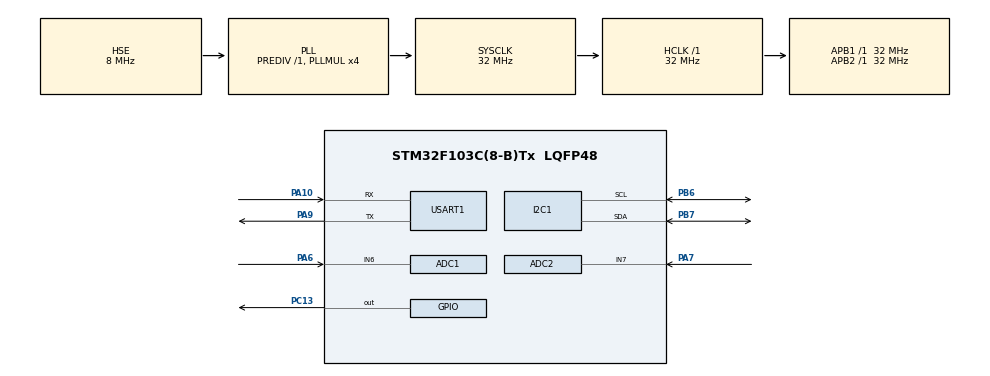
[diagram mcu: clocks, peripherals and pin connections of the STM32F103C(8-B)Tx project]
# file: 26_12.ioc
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ADC1.Channel-0\#ChannelRegularConversion=ADC_CHANNEL_6
ADC1.NbrOfConversionFlag=1
ADC1.Rank-0\#ChannelRegularConversion=1
ADC1.SamplingTime-0\#ChannelRegularConversion=ADC_SAMPLETIME_1CYCLE_5
ADC1.master=1
ADC2.Channel-1\#ChannelRegularConversion=ADC_CHANNEL_7
ADC2.NbrOfConversionFlag=1
ADC2.Rank-1\#ChannelRegularConversion=1
ADC2.SamplingTime-1\#ChannelRegularConversion=ADC_SAMPLETIME_1CYCLE_5
Mcu.Family=STM32F1
Mcu.Name=STM32F103C(8-B)Tx
Mcu.Package=LQFP48
NVIC.PriorityGroup=NVIC_PRIORITYGROUP_4
PA10.Mode=Asynchronous
PA10.Signal=USART1_RX
PA6.Signal=ADCx_IN6
PA7.Signal=ADCx_IN7
PA9.Mode=Asynchronous
PA9.Signal=USART1_TX
PB6.Mode=I2C
PB6.Signal=I2C1_SCL
PB7.Mode=I2C
PB7.Signal=I2C1_SDA
PC13-TAMPER-RTC.Signal=GPIO_Output
PD0-OSC_IN.Mode=HSE-External-Oscillator
PD0-OSC_IN.Signal=RCC_OSC_IN
PD1-OSC_OUT.Mode=HSE-External-Oscillator
PD1-OSC_OUT.Signal=RCC_OSC_OUT
ProjectManager.HeapSize=0x200
ProjectManager.StackSize=0x400
ProjectManager.TargetToolchain=STM32CubeIDE
RCC.ADCPresc=RCC_ADCPCLK2_DIV4
RCC.AHBFreq_Value=32000000
RCC.APB1Freq_Value=32000000
RCC.APB1TimFreq_Value=32000000
RCC.APB2Freq_Value=32000000
RCC.APB2TimFreq_Value=32000000
RCC.HCLKFreq_Value=32000000
RCC.PLLMUL=RCC_PLL_MUL4
RCC.PLLSourceVirtual=RCC_PLLSOURCE_HSE
RCC.SYSCLKFreq_VALUE=32000000
RCC.SYSCLKSource=RCC_SYSCLKSOURCE_PLLCLK
RCC.USBFreq_Value=32000000
SH.ADCx_IN6.0=ADC1_IN6,IN6
SH.ADCx_IN7.0=ADC2_IN7,IN7
USART1.VirtualMode=VM_ASYNC
board=custom

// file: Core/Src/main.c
/* USER CODE BEGIN Header */
/**
  ******************************************************************************
  * @file           : main.c
  * @brief          : Main program body
  ******************************************************************************
  * @attention
  *
  * Copyright (c) 2023 STMicroelectronics.
  * All rights reserved.
  *
  * This software is licensed under terms that can be found in the LICENSE file
  * in the root directory of this software component.
  * If no LICENSE file comes with this software, it is provided AS-IS.
  *
  ******************************************************************************
  */
/* USER CODE END Header */
#include "main.h"
#include "i2c-lcd.h"

ADC_HandleTypeDef hadc1;
ADC_HandleTypeDef hadc2;

I2C_HandleTypeDef hi2c1;

UART_HandleTypeDef huart1;

void SystemClock_Config(void);
static void MX_GPIO_Init(void);
static void MX_ADC1_Init(void);
static void MX_USART1_UART_Init(void);
static void MX_ADC2_Init(void);
static void MX_I2C1_Init(void);

/* USER CODE BEGIN 0 */
#define CYCLE_MAX 50
#include <string.h>
#include <stdio.h>
#include <stdlib.h>
#include <stdbool.h>
uint32_t count,cycles,count_cycles[100],arr[100];
uint8_t data[4];
uint8_t arr_low[50];
uint8_t arr_high[50];
uint8_t arr_endline[50] = "\n\n";
uint32_t count_cycles_state(bool n) {
    count =0;
    while(HAL_GPIO_ReadPin(GPIOA, GPIO_PIN_5) == n) {
        count++;
	if(count > 50) {
		return count;
	}
    }
    return count;
}
int Read_DHT11(uint32_t* arr,uint8_t* data) {

  GPIO_InitTypeDef GPIO_InitStruct = {0};

  GPIO_InitStruct.Pull = GPIO_PULLUP;
  GPIO_InitStruct.Mode = GPIO_MODE_INPUT ;
  GPIO_InitStruct.Pin = GPIO_PIN_5;
  GPIO_InitStruct.Speed = GPIO_SPEED_FREQ_LOW;
  HAL_GPIO_Init(GPIOA, &GPIO_InitStruct);

  HAL_Delay(1);

  GPIO_InitStruct.Pull = GPIO_NOPULL;
  GPIO_InitStruct.Mode = GPIO_MODE_OUTPUT_PP  ;
  GPIO_InitStruct.Pin = GPIO_PIN_5;
  GPIO_InitStruct.Speed = GPIO_SPEED_FREQ_LOW;
  HAL_GPIO_Init(GPIOA, &GPIO_InitStruct);

  HAL_GPIO_WritePin(GPIOA, GPIO_PIN_5, 0);

  HAL_Delay(20);

  GPIO_InitStruct.Pull = GPIO_PULLUP;
  GPIO_InitStruct.Mode = GPIO_MODE_INPUT ;
  GPIO_InitStruct.Pin = GPIO_PIN_5;
  GPIO_InitStruct.Speed = GPIO_SPEED_FREQ_LOW;
  HAL_GPIO_Init(GPIOA, &GPIO_InitStruct);
  __disable_irq();
  for(int i=0;i< 160;i++) {
	  __NOP();
  }
  while(HAL_GPIO_ReadPin(GPIOA, GPIO_PIN_5) == 0);
  while(HAL_GPIO_ReadPin(GPIOA, GPIO_PIN_5) == 1);

  for(int i=0; i< 100 ; i+=2) {
	  count_cycles[i] = count_cycles_state(0);
	  count_cycles[i+1] = count_cycles_state(1);
	  arr[i] = count_cycles[i];
	  arr[i+1] = count_cycles[i+1];
  }
  __enable_irq();
  data[1] = 0x00;
  data[2] = 0x00;
  data[3] = 0x00;
  data[4] = 0x00;
  for (int i = 0; i < 40; ++i) {
	  uint32_t lowCycles = arr[2 * i];
	  uint32_t highCycles = arr[2 * i + 1];
	  if ((lowCycles >= CYCLE_MAX) || (highCycles >= CYCLE_MAX)) {
		  HAL_GPIO_TogglePin(GPIOC, GPIO_PIN_13);
	  }
	  data[i / 8] <<= 1;
	  if (highCycles > lowCycles) {
		  data[i / 8] |= 1;
	  }

  }
  uint8_t check_sum = ( data[0]+ data[1]+ data[2]+ data[3] ) & 0xFF;
  if(check_sum == data[4]) {

  }else {
	  unsigned char err[] = "data loi\r\n";
	  HAL_UART_Transmit(&huart1, err, strlen((char *)err), 10);
	  data[1] = 0x00;
	  data[2] = 0x00;
	  data[3] = 0x00;
	  data[4] = 0x00;
	  return -1;
  }

}

/* USER CODE END 0 */

int main(void)
{
  /* USER CODE BEGIN 1 */
	uint8_t buffer[20]= "gia tri ADC la:";
	uint16_t var_adc =0,var_adc_2=0;
	char buffer_adc[50],buffer_adc_2[50];
  /* USER CODE END 1 */

  /* MCU Configuration--------------------------------------------------------*/

  /* Reset of all peripherals, Initializes the Flash interface and the Systick. */
  HAL_Init();

  /* Configure the system clock */
  SystemClock_Config();

  /* Initialize all configured peripherals */
  MX_GPIO_Init();
  MX_ADC1_Init();
  MX_USART1_UART_Init();
  MX_ADC2_Init();
  MX_I2C1_Init();
  /* USER CODE BEGIN 2 */
  HAL_ADC_Start(&hadc1);
  HAL_Delay(50);
  HAL_ADC_Start(&hadc2);
  HAL_Delay(50);
  lcd_init();
  lcd_clear();
  /* USER CODE END 2 */

  /* Infinite loop */
  /* USER CODE BEGIN WHILE */
  while (1)
  {
	  HAL_Delay(1000);
    /* USER CODE END WHILE */

    /* USER CODE BEGIN 3 */
	  	  HAL_Delay(10000);
	  	  HAL_UART_Transmit(&huart1, buffer,strlen((char*)buffer),10);
	  	  HAL_Delay(5000);
	  	  Read_DHT11(arr,data); // đ ?c dht11
	  	  int a =data[2];
	  	  int b =data[3];
	  	  int c =data[0];
	  	  int d =data[1];
	  	  char tx_humi[100];
	  	  char string_lcd_line1[50],string_lcd_line2[50];
	  	  char tx[100];
	  	  char space[]  = " ";
	  	  char end[] = "\r\n\r\n\r\n\r\n\r\n";
	  	  char total[300];

	  	  sprintf(tx_humi, "%d.%d", a, b);
	  	  sprintf(tx, "%d.%d", c, d);
	  	  var_adc = HAL_ADC_GetValue(&hadc1);   // đ ?c adc quang trở
	  	  var_adc_2 = HAL_ADC_GetValue(&hadc2);
	  	  sprintf(buffer_adc, "%d", var_adc);
	  	  sprintf(buffer_adc_2, "%d", var_adc_2);
	  	for(int i=0;i<300;i++) {
	  		  			  total[i] =0;
	  		  		  }
	  	  strcat(total,tx_humi);
	  	  strcat(total,space);
	  	  strcat(total,tx);
	  	  strcat(total,space);
	  	  strcat(total,buffer_adc);
	  	  strcat(total,space);
	  	  strcat(total,buffer_adc_2);
	  	  strcat(total,end);
	  //	  HAL_UART_Transmit(&huart1, total, strlen(total), 10);

	  	  HAL_Delay(3000);

	  	  unsigned char data_tat[] = "AT+CGEREP=0\r\n";
	  	  HAL_UART_Transmit(&huart1, data_tat, strlen((char *)data_tat), 10);
	  	  HAL_Delay(1000);

	  	  unsigned char data1[] = "AT+CMQTTSTART\r\n";
	  	  HAL_UART_Transmit(&huart1, data1, strlen((char *)data1), 10);
	  	  HAL_Delay(1000);

	  	  unsigned char data2[] = "AT+CMQTTACCQ=0,\"clientID\"\r\n";
	  	  HAL_UART_Transmit(&huart1, data2, strlen((char *)data2), 10);
	  	  HAL_Delay(1000);

	  	  while(1) {
	  		  Read_DHT11(arr,data);
	  		  a =data[2];
	  		  b =data[3];
	  		  c =data[0];
	  		  d =data[1];
	  		  unsigned char err1[] = "data loi 1\r\n";
	  		  HAL_UART_Transmit(&huart1, err1, strlen((char *)err1), 10);
	  		  HAL_GPIO_TogglePin(GPIOC, GPIO_PIN_13);
	  		  lcd_clear();
	  		  sprintf(string_lcd_line1, "nhietdo: %d.%doC", a,b);
			  sprintf(string_lcd_line2, "doam: %d.%d", c,d);
			  strcat(string_lcd_line2,"%");
			  lcd_put_cur(0,0);
			  lcd_send_string(string_lcd_line1);
			  lcd_put_cur(1,0);
			  lcd_send_string(string_lcd_line2);
	  		  sprintf(tx_humi, "%d.%d", a, b);
	  		  sprintf(tx, "%d.%d", c, d);
	  		  HAL_ADC_Start(&hadc1);
	  		  HAL_Delay(50);
	  		  var_adc = HAL_ADC_GetValue(&hadc1);   // đ ?c adc quang trở
	  		  HAL_ADC_Start(&hadc2);
	  		  HAL_Delay(50);
	  		  var_adc_2 = HAL_ADC_GetValue(&hadc2);
			  sprintf(buffer_adc, "%d", var_adc);
			  unsigned char err2[] = "data loi2\r\n";
			  HAL_UART_Transmit(&huart1, err2, strlen((char *)err2), 10);
			  sprintf(buffer_adc_2, "%d", var_adc_2);
	  		  for(int i=0;i<300;i++) {
	  			  total[i] =0;
	  		  }
	  		  strcat(total,tx_humi);
	  		  strcat(total,space);
	  		  strcat(total,tx);
	  		  strcat(total,space);
	  		  strcat(total,buffer_adc);
		  	  strcat(total,space);
		  	  strcat(total,buffer_adc_2);
	  		  strcat(total,end);
	  		  unsigned char data3[] = "AT+CMQTTCONNECT=0,\"tcp://test.mosquitto.org:1883\",60,0\r\n";
	  		  HAL_UART_Transmit(&huart1, data3, strlen((char *)data3), 10);
	  		  HAL_Delay(1000);

	  		  unsigned char data4[] = "AT+CMQTTTOPIC=0,5\r\n";
	  		  HAL_UART_Transmit(&huart1, data4, strlen((char *)data4), 10);
	  		  HAL_Delay(10);

	  		  unsigned char data5[] = "vonam\r\n";
	  		  HAL_UART_Transmit(&huart1, data5, strlen((char *)data5), 10);
	  		  HAL_Delay(1000);

	  		  unsigned char data6[] = "AT+CMQTTPAYLOAD=0,19\r\n";
	  		  HAL_UART_Transmit(&huart1, data6, strlen((char *)data6), 10);
	  		  HAL_Delay(10);

	  		  HAL_GPIO_TogglePin(GPIOC, GPIO_PIN_13);
	  		  HAL_UART_Transmit(&huart1, (unsigned char *)total, strlen((char *)total), 500);
	  		  HAL_Delay(1000);

	  		  unsigned char data8[] = "AT+CMQTTPUB=0,1,60,0,0\r\n";
	  		  HAL_UART_Transmit(&huart1, data8, strlen((char *)data8), 10);
	  		  HAL_Delay(1000);

	  		  unsigned char data9[] = "AT+CMQTTDISC=0,200\r\n";
	  		  HAL_UART_Transmit(&huart1, data9, strlen((char *)data9), 10);
	  		  HAL_Delay(1000);

	  	  }
	  	  HAL_Delay(1000);

	    }
  }
  /* USER CODE END 3 */

void SystemClock_Config(void)
{
  RCC_OscInitTypeDef RCC_OscInitStruct = {0};
  RCC_ClkInitTypeDef RCC_ClkInitStruct = {0};
  RCC_PeriphCLKInitTypeDef PeriphClkInit = {0};

  /** Initializes the RCC Oscillators according to the specified parameters
  * in the RCC_OscInitTypeDef structure.
  */
  RCC_OscInitStruct.OscillatorType = RCC_OSCILLATORTYPE_HSE;
  RCC_OscInitStruct.HSEState = RCC_HSE_ON;
  RCC_OscInitStruct.HSEPredivValue = RCC_HSE_PREDIV_DIV1;
  RCC_OscInitStruct.HSIState = RCC_HSI_ON;
  RCC_OscInitStruct.PLL.PLLState = RCC_PLL_ON;
  RCC_OscInitStruct.PLL.PLLSource = RCC_PLLSOURCE_HSE;
  RCC_OscInitStruct.PLL.PLLMUL = RCC_PLL_MUL4;
  if (HAL_RCC_OscConfig(&RCC_OscInitStruct) != HAL_OK)
  {
    Error_Handler();
  }

  /** Initializes the CPU, AHB and APB buses clocks
  */
  RCC_ClkInitStruct.ClockType = RCC_CLOCKTYPE_HCLK|RCC_CLOCKTYPE_SYSCLK
                              |RCC_CLOCKTYPE_PCLK1|RCC_CLOCKTYPE_PCLK2;
  RCC_ClkInitStruct.SYSCLKSource = RCC_SYSCLKSOURCE_PLLCLK;
  RCC_ClkInitStruct.AHBCLKDivider = RCC_SYSCLK_DIV1;
  RCC_ClkInitStruct.APB1CLKDivider = RCC_HCLK_DIV1;
  RCC_ClkInitStruct.APB2CLKDivider = RCC_HCLK_DIV1;

  if (HAL_RCC_ClockConfig(&RCC_ClkInitStruct, FLASH_LATENCY_1) != HAL_OK)
  {
    Error_Handler();
  }
  PeriphClkInit.PeriphClockSelection = RCC_PERIPHCLK_ADC;
  PeriphClkInit.AdcClockSelection = RCC_ADCPCLK2_DIV4;
  if (HAL_RCCEx_PeriphCLKConfig(&PeriphClkInit) != HAL_OK)
  {
    Error_Handler();
  }
}

static void MX_ADC1_Init(void)
{

  ADC_ChannelConfTypeDef sConfig = {0};

  /** Common config
  */
  hadc1.Instance = ADC1;
  hadc1.Init.ScanConvMode = ADC_SCAN_DISABLE;
  hadc1.Init.ContinuousConvMode = DISABLE;
  hadc1.Init.DiscontinuousConvMode = DISABLE;
  hadc1.Init.ExternalTrigConv = ADC_SOFTWARE_START;
  hadc1.Init.DataAlign = ADC_DATAALIGN_RIGHT;
  hadc1.Init.NbrOfConversion = 1;
  if (HAL_ADC_Init(&hadc1) != HAL_OK)
  {
    Error_Handler();
  }

  /** Configure Regular Channel
  */
  sConfig.Channel = ADC_CHANNEL_6;
  sConfig.Rank = ADC_REGULAR_RANK_1;
  sConfig.SamplingTime = ADC_SAMPLETIME_1CYCLE_5;
  if (HAL_ADC_ConfigChannel(&hadc1, &sConfig) != HAL_OK)
  {
    Error_Handler();
  }

}

static void MX_ADC2_Init(void)
{

  ADC_ChannelConfTypeDef sConfig = {0};

  /** Common config
  */
  hadc2.Instance = ADC2;
  hadc2.Init.ScanConvMode = ADC_SCAN_DISABLE;
  hadc2.Init.ContinuousConvMode = DISABLE;
  hadc2.Init.DiscontinuousConvMode = DISABLE;
  hadc2.Init.ExternalTrigConv = ADC_SOFTWARE_START;
  hadc2.Init.DataAlign = ADC_DATAALIGN_RIGHT;
  hadc2.Init.NbrOfConversion = 1;
  if (HAL_ADC_Init(&hadc2) != HAL_OK)
  {
    Error_Handler();
  }

  /** Configure Regular Channel
  */
  sConfig.Channel = ADC_CHANNEL_7;
  sConfig.Rank = ADC_REGULAR_RANK_1;
  sConfig.SamplingTime = ADC_SAMPLETIME_1CYCLE_5;
  if (HAL_ADC_ConfigChannel(&hadc2, &sConfig) != HAL_OK)
  {
    Error_Handler();
  }

}

static void MX_I2C1_Init(void)
{

  hi2c1.Instance = I2C1;
  hi2c1.Init.ClockSpeed = 100000;
  hi2c1.Init.DutyCycle = I2C_DUTYCYCLE_2;
  hi2c1.Init.OwnAddress1 = 0;
  hi2c1.Init.AddressingMode = I2C_ADDRESSINGMODE_7BIT;
  hi2c1.Init.DualAddressMode = I2C_DUALADDRESS_DISABLE;
  hi2c1.Init.OwnAddress2 = 0;
  hi2c1.Init.GeneralCallMode = I2C_GENERALCALL_DISABLE;
  hi2c1.Init.NoStretchMode = I2C_NOSTRETCH_DISABLE;
  if (HAL_I2C_Init(&hi2c1) != HAL_OK)
  {
    Error_Handler();
  }

}

static void MX_USART1_UART_Init(void)
{

  huart1.Instance = USART1;
  huart1.Init.BaudRate = 115200;
  huart1.Init.WordLength = UART_WORDLENGTH_8B;
  huart1.Init.StopBits = UART_STOPBITS_1;
  huart1.Init.Parity = UART_PARITY_NONE;
  huart1.Init.Mode = UART_MODE_TX_RX;
  huart1.Init.HwFlowCtl = UART_HWCONTROL_NONE;
  huart1.Init.OverSampling = UART_OVERSAMPLING_16;
  if (HAL_UART_Init(&huart1) != HAL_OK)
  {
    Error_Handler();
  }

}

static void MX_GPIO_Init(void)
{
  GPIO_InitTypeDef GPIO_InitStruct = {0};

  /* GPIO Ports Clock Enable */
  __HAL_RCC_GPIOC_CLK_ENABLE();
  __HAL_RCC_GPIOD_CLK_ENABLE();
  __HAL_RCC_GPIOA_CLK_ENABLE();
  __HAL_RCC_GPIOB_CLK_ENABLE();

  /*Configure GPIO pin Output Level */
  HAL_GPIO_WritePin(GPIOC, GPIO_PIN_13, GPIO_PIN_RESET);

  /*Configure GPIO pin : PC13 */
  GPIO_InitStruct.Pin = GPIO_PIN_13;
  GPIO_InitStruct.Mode = GPIO_MODE_OUTPUT_PP;
  GPIO_InitStruct.Pull = GPIO_NOPULL;
  GPIO_InitStruct.Speed = GPIO_SPEED_FREQ_LOW;
  HAL_GPIO_Init(GPIOC, &GPIO_InitStruct);

}

void Error_Handler(void)
{
  __disable_irq();
  while (1)
  {
  }
}
